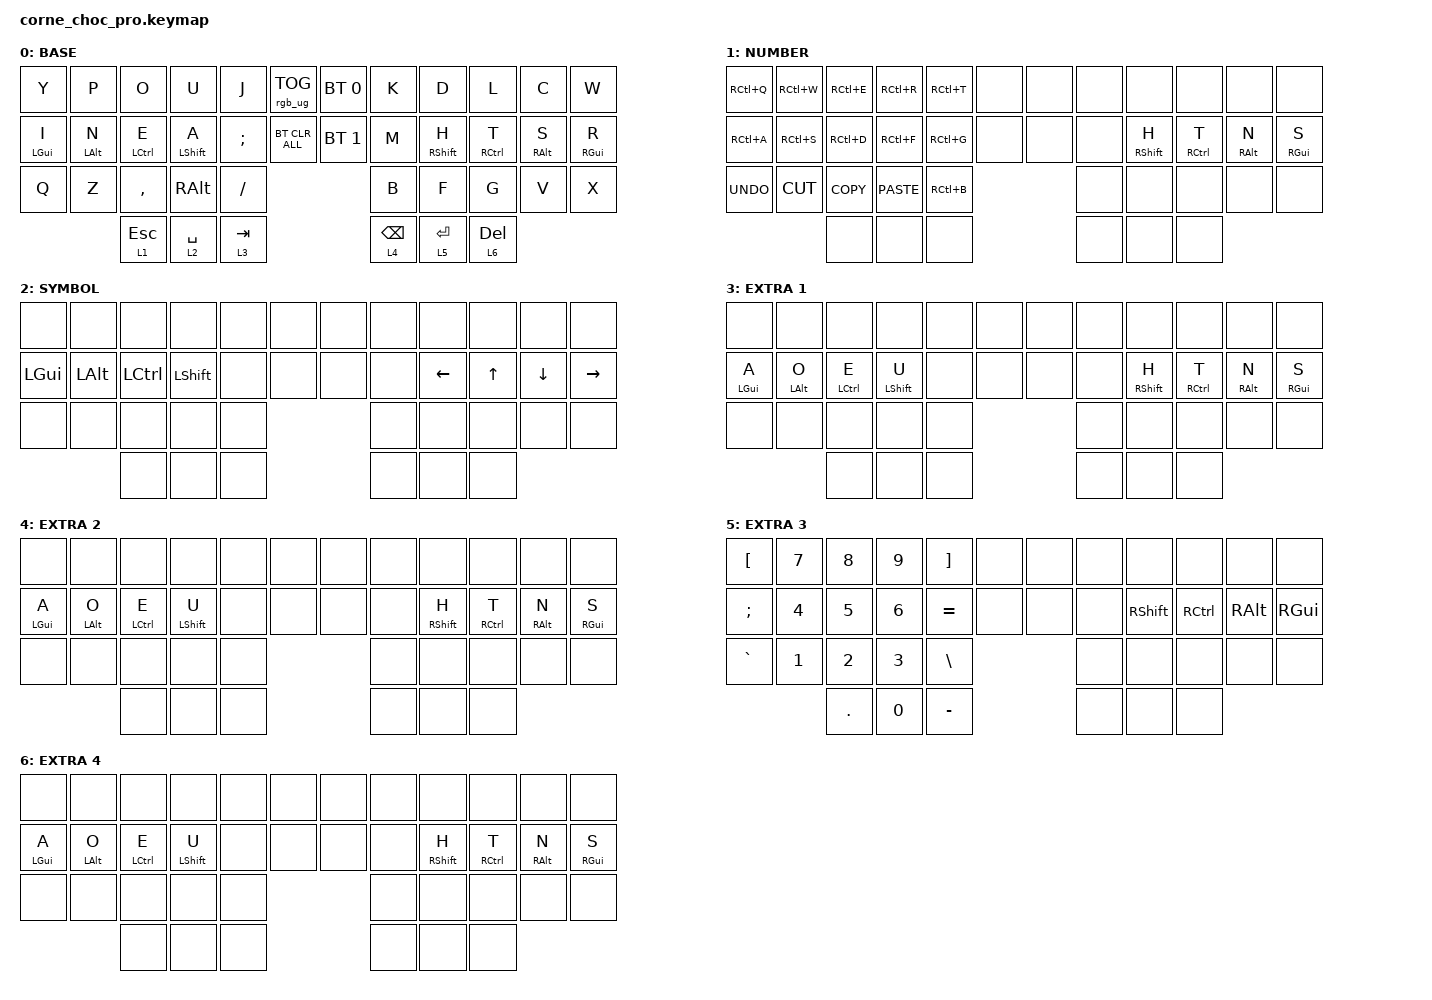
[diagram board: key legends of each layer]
/*
* Copyright (c) 2020 The ZMK Contributors
*
* SPDX-License-Identifier: MIT
*/

#include <dt-bindings/zmk/behaviors.h>
#include <behaviors.dtsi>
#include <dt-bindings/zmk/bt.h>
#include <dt-bindings/zmk/keys.h>
#include <dt-bindings/zmk/rgb.h>

/ {
    chosen { zmk,physical-layout = &five_col_layout; };
};

/ {
    behaviors {
        hml: home_row_mod_left {
            compatible = "zmk,behavior-hold-tap";
            #binding-cells = <2>;
            flavor = "balanced";
            require-prior-idle-ms = <150>;
            tapping-term-ms = <280>;
            quick-tap-ms = <175>;
            bindings = <&kp>, <&kp>;

            hold-trigger-key-positions = <6 7 8 9 10 11 18 19 20 21 22 23 29 30 31 32 33 37 38 39 6 7 8 9 10 11 18 19 20 21 22 23 29 30 31 32 33 37 38 39>;
            hold-trigger-on-release;
        };

        hmr: home_row_mod_right {
            compatible = "zmk,behavior-hold-tap";
            #binding-cells = <2>;
            flavor = "balanced";
            require-prior-idle-ms = <150>;
            tapping-term-ms = <280>;
            quick-tap-ms = <175>;
            bindings = <&kp>, <&kp>;

            hold-trigger-key-positions = <0 1 2 3 4 5 12 13 14 15 16 17 24 25 26 27 28 34 35 36>;
            hold-trigger-on-release;
        };

        ltl: layer_tap_left {
            compatible = "zmk,behavior-hold-tap";
            #binding-cells = <2>;
            flavor = "balanced";
            require-prior-idle-ms = <150>;
            tapping-term-ms = <280>;
            quick-tap-ms = <175>;
            bindings = <&mo>, <&kp>;

            hold-trigger-key-positions = <6 7 8 9 10 11 18 19 20 21 22 23 29 30 31 32 33 37 38 39 6 7 8 9 10 11 18 19 20 21 22 23 29 30 31 32 33 37 38 39>;
            hold-trigger-on-release;
        };

        ltr: later_tap_right {
            compatible = "zmk,behavior-hold-tap";
            #binding-cells = <2>;
            flavor = "balanced";
            require-prior-idle-ms = <150>;
            tapping-term-ms = <280>;
            quick-tap-ms = <175>;
            bindings = <&mo>, <&kp>;

            hold-trigger-key-positions = <0 1 2 3 4 5 12 13 14 15 16 17 24 25 26 27 28 34 35 36>;
            hold-trigger-on-release;
        };
    };

    combos {
        compatible = "zmk,combos";

        bootloader {
            bindings = <&bootloader>;
            key-positions = <24 2 35>;
        };
    };

    keymap {
        compatible = "zmk,keymap";

        default_layer {
            display-name = "BASE";

            // ------------------------------------------------------------------------------
            // |  Q  |  W  |  E  |  R  |  T  |  MUTE |  PP   |  Y  |  U   |  I  |  O  |  P  |
            // |  A  |  S  |  D  |  F  |  G  |  LALT |  RALT |  H  |  J   |  K  |  L  |  ;  |
            // |  Z  |  X  |  C  |  V  |  B  |               |  N  |  M   |  ,  |  .  |  /  |
            //                    | GUI | LWR | SPC |               | ENT | RSE  | ALT |

            bindings = <
  &kp Y            &kp P            &kp O                &kp U              &kp J       &rgb_ug RGB_TOG  &bt BT_SEL 0  &kp K             &kp D               &kp L                 &kp C             &kp W
  &hml LEFT_GUI I  &hml LEFT_ALT N  &hml LEFT_CONTROL E  &hml LEFT_SHIFT A  &kp SEMI    &bt BT_CLR_ALL   &bt BT_SEL 1  &kp M             &hmr RIGHT_SHIFT H  &hmr RIGHT_CONTROL T  &hmr RIGHT_ALT S  &hmr RIGHT_GUI R
  &kp Q            &kp Z            &kp COMMA            &kp RALT           &kp FSLH                                   &kp B             &kp F               &kp G                 &kp V             &kp X
                                    &ltl 1 ESCAPE        &ltl 2 SPACE       &ltl 3 TAB                                 &ltr 4 BACKSPACE  &ltr 5 ENTER        &ltr 6 DELETE
            >;
        };

        left_1 {
            display-name = "NUMBER";

            // --------------------------------------------------------------------------------
            // |  1  |  2  |  3  |  4  |  5    |  LCTRL | RCTRL |  6  |  7  |  8  |  9  |  0  |
            // | BT1 | BT2 | BT3 | BT4 | BT5   |  LALT  | RALT  | LFT | DWN |  UP | RGT |     |
            // | BTCR| RGB | RST | BOOT| Unlock|        |       |     |     |     |     |     |
            //                    | GUI |     | SPC   |        | ENT   |     | ALT |

            bindings = <
  &kp RC(Q)   &kp RC(W)  &kp RC(E)   &kp RC(R)    &kp RC(T)  &none  &none  &none  &none               &none                 &none             &none
  &kp RC(A)   &kp RC(S)  &kp RC(D)   &kp RC(F)    &kp RC(G)  &none  &none  &none  &hmr RIGHT_SHIFT H  &hmr RIGHT_CONTROL T  &hmr RIGHT_ALT N  &hmr RIGHT_GUI S
  &kp K_UNDO  &kp K_CUT  &kp K_COPY  &kp K_PASTE  &kp RC(B)                &none  &none               &none                 &none             &none
                         &none       &none        &none                    &none  &none               &none
            >;
        };

        left_2 {
            display-name = "SYMBOL";

            // -----------------------------------------------------------------------------
            // |  !  |  @  |  #  |  $  |  %  | LCTRL | RCTRL |  ^  |  &  |  *  |  (  |  )  |
            // |     |     |     |     |     |  LALT | RALT  |  -  |  =  |  [  |  ]  |  \  |
            // |     |     |     |     |     |               |  _  |  +  |  {  |  }  | "|" |
            //                    | GUI |     | SPC |               | ENT |     | ALT |

            bindings = <
  &none         &none         &none             &none           &none  &none  &none  &none  &none           &none         &none           &none
  &kp LEFT_GUI  &kp LEFT_ALT  &kp LEFT_CONTROL  &kp LEFT_SHIFT  &none  &none  &none  &none  &kp LEFT_ARROW  &kp UP_ARROW  &kp DOWN_ARROW  &kp RIGHT_ARROW
  &none         &none         &none             &none           &none                &none  &none           &none         &none           &none
                              &none             &none           &none                &none  &none           &none
            >;
        };

        left_3 {
            display-name = "EXTRA 1";
            bindings = <
  &none            &none            &none                &none              &none  &none  &none  &none  &none               &none                 &none             &none
  &hml LEFT_GUI A  &hml LEFT_ALT O  &hml LEFT_CONTROL E  &hml LEFT_SHIFT U  &none  &none  &none  &none  &hmr RIGHT_SHIFT H  &hmr RIGHT_CONTROL T  &hmr RIGHT_ALT N  &hmr RIGHT_GUI S
  &none            &none            &none                &none              &none                &none  &none               &none                 &none             &none
                                    &none                &none              &none                &none  &none               &none
            >;
        };

        right_1 {
            display-name = "EXTRA 2";
            bindings = <
  &none            &none            &none                &none              &none  &none  &none  &none  &none               &none                 &none             &none
  &hml LEFT_GUI A  &hml LEFT_ALT O  &hml LEFT_CONTROL E  &hml LEFT_SHIFT U  &none  &none  &none  &none  &hmr RIGHT_SHIFT H  &hmr RIGHT_CONTROL T  &hmr RIGHT_ALT N  &hmr RIGHT_GUI S
  &none            &none            &none                &none              &none                &none  &none               &none                 &none             &none
                                    &none                &none              &none                &none  &none               &none
            >;
        };

        right_2 {
            display-name = "EXTRA 3";
            bindings = <
  &kp LBKT   &kp N7  &kp N8   &kp N9  &kp RBKT   &none  &none  &none  &none            &none              &none          &none
  &kp SEMI   &kp N4  &kp N5   &kp N6  &kp EQUAL  &none  &none  &none  &kp RIGHT_SHIFT  &kp RIGHT_CONTROL  &kp RIGHT_ALT  &kp RIGHT_GUI
  &kp GRAVE  &kp N1  &kp N2   &kp N3  &kp BSLH                 &none  &none            &none              &none          &none
                     &kp DOT  &kp N0  &kp MINUS                &none  &none            &none
            >;
        };

        right_3 {
            display-name = "EXTRA 4";
            bindings = <
  &none            &none            &none                &none              &none  &none  &none  &none  &none               &none                 &none             &none
  &hml LEFT_GUI A  &hml LEFT_ALT O  &hml LEFT_CONTROL E  &hml LEFT_SHIFT U  &none  &none  &none  &none  &hmr RIGHT_SHIFT H  &hmr RIGHT_CONTROL T  &hmr RIGHT_ALT N  &hmr RIGHT_GUI S
  &none            &none            &none                &none              &none                &none  &none               &none                 &none             &none
                                    &none                &none              &none                &none  &none               &none
            >;
        };
    };
};
